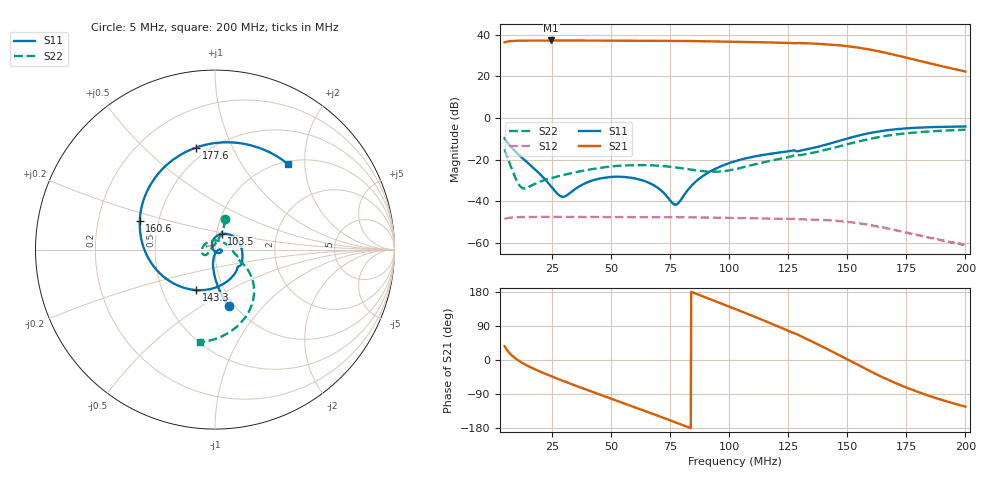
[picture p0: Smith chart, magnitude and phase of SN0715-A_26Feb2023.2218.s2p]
# Hz S DB R 50
! CMT, M5045, 22160017, 22.4.3/2
! Date: 2/26/2023 22:18:03
! Data: Format (Calibration Info)
! Freq	S11:dB/Ang(F2)	S21:dB/Ang(F2)	S12:dB/Ang(F2)	S22:dB/Ang(F2)
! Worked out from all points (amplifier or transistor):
!   1001 points, 5 MHz to 200 MHz, reference 50 ohm
!   highest |S21| = 37.3 dB at 24.7 MHz (marker M1)
!   |S21| within 3 dB of that: start of sweep to 152 MHz
!   unconditionally stable (mu >= 1): start of sweep to end of sweep
!   at 37.37 MHz: K = 1.78, MAG = 37.3 dB, |S12| = -47.5 dB
!   at 102.5 MHz: K = 1.97, MAG = 36.7 dB, |S12| = -48.1 dB
!   at 200 MHz: K = 19.07, MAG = 25.9 dB, |S12| = -61.0 dB
!   S11 on the Smith chart (normalised r, x): 5 MHz: 0.94, -0.66; 103.5 MHz: 1.06, +0.19; 143.3 MHz: 0.74, -0.35; 160.6 MHz: 0.39, +0.15; 177.6 MHz: 0.43, +0.74; 200 MHz: 1.05, +1.65
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5000000  -9.75 -76.3  36.39 36.4  -48.62 39.6  -15.01 71.2
7925000  -14.14 -86.4  37.01 12.9  -47.85 16.5  -24.12 71.8
1.1435e7  -18.16 -93.2  37.20 -3.7  -47.64 -0.7  -32.61 109.3
1.748e7  -24.28 -99.5  37.29 -23.5  -47.51 -20.7  -31.85 178.2
2.4695e7  -32.85 -89.8  37.31 -42.8  -47.61 -39.0  -28.90 -160.1
3.7565e7  -32.24 2.3  37.27 -73.5  -47.58 -68.1  -25.51 -149.4
5.336e7  -28.18 -13.5  37.22 -109.5  -47.63 -101.8  -22.94 -158.5
7.013e7  -33.83 -58.1  37.15 -147.7  -47.72 -138.0  -22.93 174.6
7.832e7  -41.14 -162.2  37.09 -166.9  -47.66 -156.2  -23.87 153.8
8.6315e7  -30.16 123.7  37.00 174.1  -47.81 -174.3  -25.18 125.8
1.025e8  -20.78 70.0  36.68 134.9  -48.08 148.4  -24.61 47.6
1.03475e8  -20.45 67.0  36.66 132.5  -48.11 146.3  -24.35 43.5
1.11665e8  -18.28 39.5  36.48 112.1  -48.18 126.7  -22.07 14.5
1.19465e8  -16.86 9.5  36.29 92.0  -48.35 108.1  -20.08 -3.7
1.29215e8  -15.95 -37.6  36.07 66.3  -48.69 81.4  -17.88 -20.6
1.35065e8  -14.48 -68.0  35.84 48.8  -48.84 65.8  -16.78 -23.4
1.43255e8  -12.09 -114.9  35.32 23.5  -49.28 41.3  -14.62 -28.2
1.51055e8  -9.52 -156.6  34.44 -1.8  -50.04 16.8  -12.30 -35.3
1.6061e8  -6.97 159.4  32.70 -32.4  -51.64 -12.9  -9.75 -47.9
1.6763e8  -5.75 132.2  31.01 -53.2  -53.25 -33.0  -8.37 -58.8
1.77575e8  -4.76 100.6  28.33 -78.8  -55.80 -57.7  -7.06 -73.4
2e8  -4.06 49.5  22.38 -123.1  -60.97 -102.9  -5.63 -99.4
